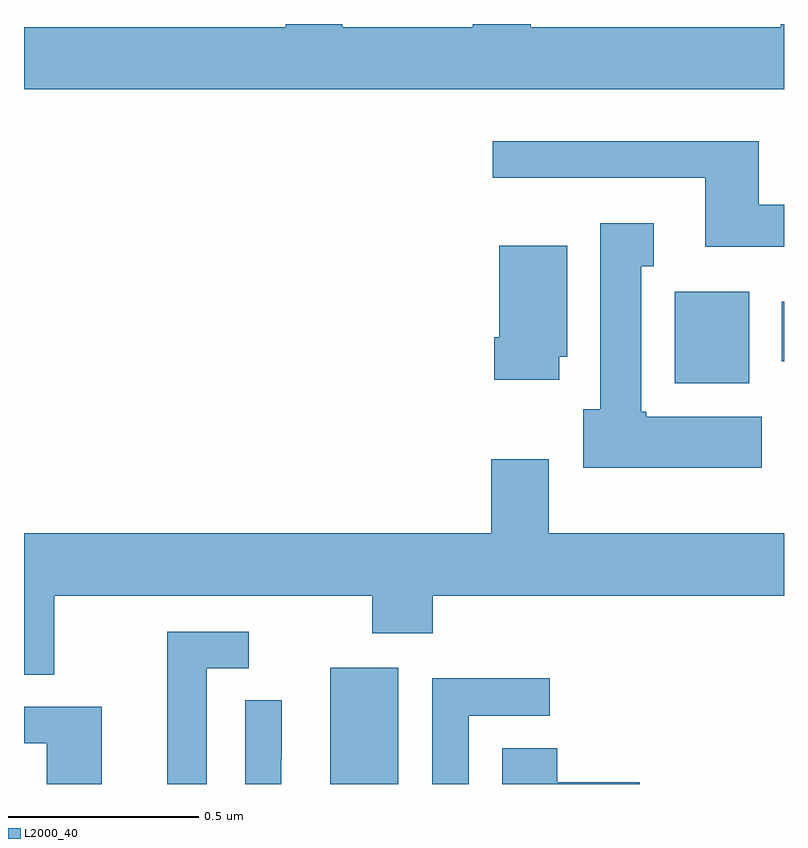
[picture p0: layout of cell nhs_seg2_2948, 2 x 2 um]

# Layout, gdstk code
import gdstk
lib = gdstk.Library(unit=1e-6, precision=1e-09)
def R(c, l, rs):  # rectangles x0, y0, x1, y1
    for r in rs: c.add(gdstk.rectangle(r[:2], r[2:], *l))
def P(c, l, *ps):  # polygons
    for p in ps: c.add(gdstk.Polygon(p, *l))
L2000_40 = (2000, 40)

nhs_seg2_2948 = lib.new_cell('nhs_seg2_2948')
R(nhs_seg2_2948, L2000_40, [(147.806,653.8,147.985,654.106), (148.712,654.854,148.909,655.096), (148.994,654.913,149,655.069)])
P(nhs_seg2_2948, L2000_40, [(149,655.8),(148.991,655.8),(148.991,655.792),(148.334,655.792),(148.334,655.8),(148.181,655.8),(148.181,655.792),(147.837,655.792),(147.837,655.8),(147.689,655.8),(147.689,655.792),(147,655.792),(147,655.628),(149,655.628)],
  [(149,655.324),(148.933,655.324),(148.933,655.492),(148.233,655.492),(148.233,655.395),(148.793,655.395),(148.793,655.214),(149,655.214)],
  [(148.942,654.766),(148.638,654.766),(148.638,654.78),(148.624,654.78),(148.624,655.163),(148.657,655.163),(148.657,655.276),(148.517,655.276),(148.517,654.786),(148.472,654.786),(148.472,654.632),(148.942,654.632)],
  [(148.408,654.924),(148.429,654.924),(148.429,655.216),(148.25,655.216),(148.25,654.976),(148.238,654.976),(148.238,654.864),(148.408,654.864)],
  [(147.079,654.296),(147.916,654.296),(147.916,654.197),(148.076,654.197),(148.076,654.296),(149,654.296),(149,654.46),(148.381,654.46),(148.381,654.655),(148.229,654.655),(148.229,654.46),(147,654.46),(147,654.088),(147.079,654.088)],
  [(147.481,654.105),(147.592,654.105),(147.592,654.201),(147.377,654.201),(147.377,653.8),(147.481,653.8)],
  [(148.17,653.979),(148.384,653.979),(148.384,654.078),(148.074,654.078),(148.074,653.8),(148.17,653.8)],
  [(147.677,653.866),(147.678,653.866),(147.678,654.02),(147.582,654.02),(147.582,653.8),(147.677,653.8)],
  [(147.205,654.003),(147,654.003),(147,653.907),(147.06,653.907),(147.06,653.8),(147.205,653.8)],
  [(148.621,653.804),(148.403,653.804),(148.403,653.894),(148.259,653.894),(148.259,653.8),(148.621,653.8)])

lib.write_gds('nhs_seg2_2948.gds')
